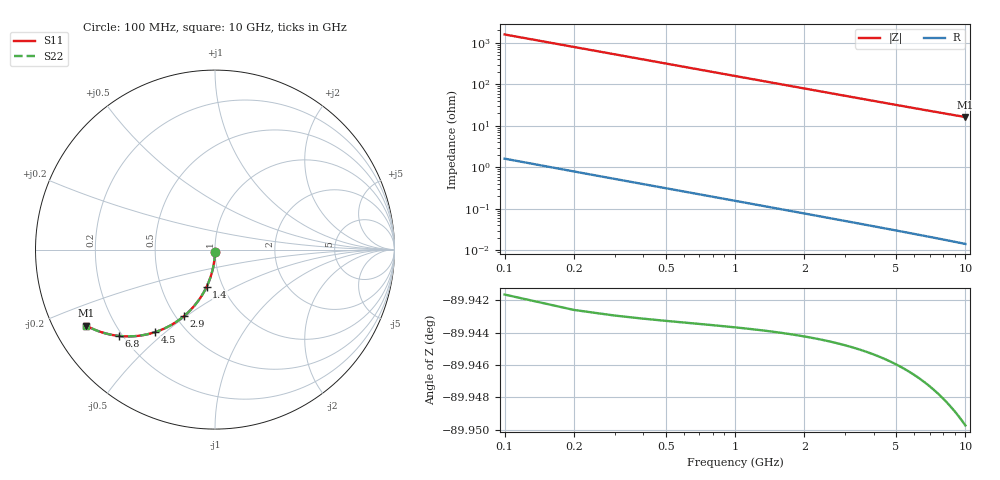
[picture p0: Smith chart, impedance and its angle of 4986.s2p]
# Hz S RI R 50.00
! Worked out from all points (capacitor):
!   100 points, 100 MHz to 10 GHz, reference 50 ohm
!   read as one part in shunt: C = 1 pF near 100 MHz
!   lowest |Z| = 16.3 ohm at 10 GHz (marker M1)
!   S11 on the Smith chart (normalised r, x): 100 MHz: 1.00, -0.03; 1.4 GHz: 0.84, -0.36; 2.9 GHz: 0.55, -0.49; 4.5 GHz: 0.34, -0.46; 6.8 GHz: 0.19, -0.37; 10 GHz: 0.10, -0.27
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1e8  -0.000194 -0.0155  0.9997 -0.016  0.9997 -0.016  -0.000194 -0.0155
2e8  -0.000948 -0.0309  0.9989 -0.0319  0.9989 -0.0319  -0.000948 -0.0309
3e8  -0.00219 -0.0463  0.9977 -0.0478  0.9977 -0.0478  -0.00219 -0.0463
4e8  -0.00392 -0.0616  0.9959 -0.0636  0.9959 -0.0636  -0.00392 -0.0616
5e8  -0.00614 -0.0768  0.9937 -0.0793  0.9937 -0.0793  -0.00614 -0.0768
6e8  -0.00882 -0.0919  0.991 -0.0949  0.991 -0.0949  -0.00882 -0.0919
7e8  -0.012 -0.1069  0.9879 -0.1104  0.9879 -0.1104  -0.012 -0.1069
9e8  -0.0197 -0.1363  0.9802 -0.1408  0.9802 -0.1408  -0.0197 -0.1363
1.1e9  -0.0291 -0.165  0.9708 -0.1705  0.9708 -0.1705  -0.0291 -0.165
1.4e9  -0.0463 -0.2063  0.9536 -0.2133  0.9536 -0.2133  -0.0463 -0.2063
1.8e9  -0.0743 -0.2573  0.9256 -0.2663  0.9256 -0.2663  -0.0743 -0.2573
2.3e9  -0.1158 -0.3139  0.884 -0.3254  0.884 -0.3254  -0.1158 -0.3139
2.9e9  -0.1725 -0.3701  0.8273 -0.3847  0.8273 -0.3847  -0.1725 -0.3701
3.4e9  -0.2228 -0.4072  0.7769 -0.4243  0.7769 -0.4243  -0.2228 -0.4072
3.9e9  -0.2741 -0.4358  0.7256 -0.4555  0.7256 -0.4555  -0.2741 -0.4358
4.5e9  -0.3348 -0.4601  0.6648 -0.4828  0.6648 -0.4828  -0.3348 -0.4601
5.1e9  -0.393 -0.475  0.6065 -0.5009  0.6065 -0.5009  -0.393 -0.475
5.9e9  -0.4648 -0.4833  0.5346 -0.5133  0.5346 -0.5133  -0.4648 -0.4833
6.7e9  -0.5289 -0.4815  0.4703 -0.5157  0.4703 -0.5157  -0.5289 -0.4815
6.8e9  -0.5364 -0.4808  0.4629 -0.5155  0.4629 -0.5155  -0.5364 -0.4808
8.4e9  -0.6397 -0.4578  0.3592 -0.501  0.3592 -0.501  -0.6397 -0.4578
1e10  -0.717 -0.4236  0.2815 -0.4755  0.2815 -0.4755  -0.717 -0.4236
